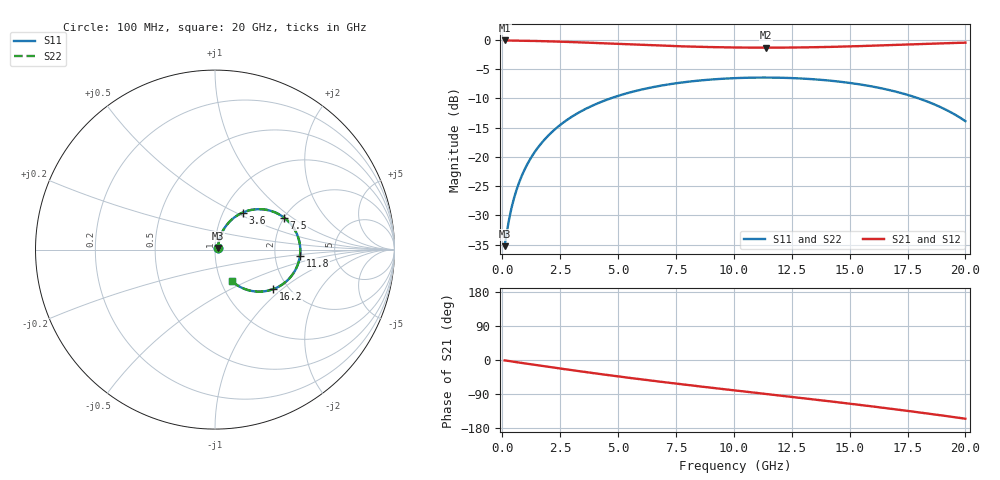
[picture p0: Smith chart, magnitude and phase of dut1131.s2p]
! Touchstone file exported from HFSS 2026.1.0
!  File:  C:/ffzhzh/LocalFiles/Ansys_Project_Files/temp_train_TSV_RDL_1131_1783307711_5512.aedt
!  Generated:  11:24:45 AM Jul  6, 2026
!  Design:  TSV_RDL
!  Project:  temp_train_TSV_RDL_1131_1783307711_5512
! Variables:
!  h_bsmrdl = 2.23um
!  h_ox = 20um
!  h_rdl = 5um
!  h_sub = 62.49um
!  h_tmrdl = 3.69um
!  h_tsv = 62.49um
!  h_via = 3um
!  l_bsmrdl = 202.95um
!  l_sub = 2732.77um
!  l_tmrdl = 400.71um
!  m_sub = 200um
!  pitch = 40.65um
!  r_tsv = 5.33um
!  s_tmrdl = 10um
!  w_bsmrdl = 17.29um
!  w_sub = 500um
!  w_tmrdl = 23.07um
!  x_tsv_center1 = 412.245um
!  x_tsv_center2 = 632.485um
!  x_tsv_center3 = 1056.265um
!  x_tsv_center4 = 1276.505um
!  x_tsv_center5 = 1700.285um
!  x_tsv_center6 = 1920.525um
# GHz S MA R 50.000000
! Terminal data exported
! Port[1] = TM_RDL1_1_T1
! Port[2] = TM_RDL5_1_T1
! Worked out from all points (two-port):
!   200 points, 100 MHz to 20 GHz, reference 50 ohm
!   highest |S21| = -0.13 dB at 100 MHz (marker M1); lowest = -1.4 dB at 11.4 GHz (marker M2)
!   |S21| within 3 dB of the highest: start of sweep to end of sweep
!   lowest |S11| = -35.2 dB at 100 MHz (marker M3), VSWR 1.04, Z = 51.5 + j0.867 ohm
!   |S11| at or under -10 dB: start of sweep to 4.688 GHz; 17.97 GHz to end of sweep
!   |S22| runs from -35.2 to -6.5 dB; largest |S21 - S12| = 2.8e-13
!   S11 on the Smith chart (normalised r, x): 100 MHz: 1.03, +0.02; 3.6 GHz: 1.23, +0.54; 7.5 GHz: 2.00, +0.87; 11.8 GHz: 2.78, -0.26; 16.2 GHz: 1.67, -0.87; 20 GHz: 1.13, -0.42
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0.1  0.0173 29.1  0.985 -1.0  0.985 -1.0  0.0173 29.1
! Gamma 0 0 0 0
! Port Impedance 50 0 50 0
0.3  0.02977 54.5  0.9836 -2.8  0.9836 -2.8  0.02977 54.5
0.5  0.04397 62.7  0.9822 -4.7  0.9822 -4.7  0.04397 62.7
0.8  0.06587 67.0  0.9802 -7.4  0.9802 -7.4  0.06587 67.0
1.2  0.09534 67.8  0.9771 -11.0  0.9771 -11.0  0.09534 67.8
1.7  0.1317 66.1  0.9721 -15.4  0.9721 -15.4  0.1317 66.1
2.2  0.1668 63.3  0.966 -19.8  0.966 -19.8  0.1668 63.3
2.8  0.2071 59.2  0.9575 -25.1  0.9575 -25.1  0.2071 59.2
3.5  0.2508 54.1  0.9463 -31.0  0.9463 -31.0  0.2508 54.1
3.6  0.2568 53.3  0.9447 -31.8  0.9447 -31.8  0.2568 53.3
5  0.3315 42.8  0.9202 -43.3  0.9202 -43.3  0.3315 42.8
6.8  0.4036 29.7  0.8907 -57.1  0.8907 -57.1  0.4036 29.7
7.5  0.4245 24.8  0.8809 -62.3  0.8809 -62.3  0.4245 24.8
10.1  0.4702 7.0  0.8577 -80.7  0.8577 -80.7  0.4702 7.0
11.4  0.4752 -1.7  0.8547 -89.7  0.8547 -89.7  0.4752 -1.7
11.8  0.4744 -4.3  0.855 -92.5  0.855 -92.5  0.4744 -4.3
13.4  0.4602 -15.1  0.8618 -103.7  0.8618 -103.7  0.4602 -15.0
14.8  0.4328 -24.6  0.8742 -113.7  0.8742 -113.7  0.4328 -24.6
16.2  0.3909 -34.5  0.8914 -124.2  0.8914 -124.2  0.3909 -34.4
16.7  0.3722 -38.0  0.8983 -128.0  0.8983 -128.0  0.3722 -38.0
18.5  0.289 -51.1  0.9242 -142.3  0.9242 -142.3  0.289 -51.1
20  0.2018 -61.6  0.9431 -154.9  0.9431 -154.9  0.2018 -61.6
